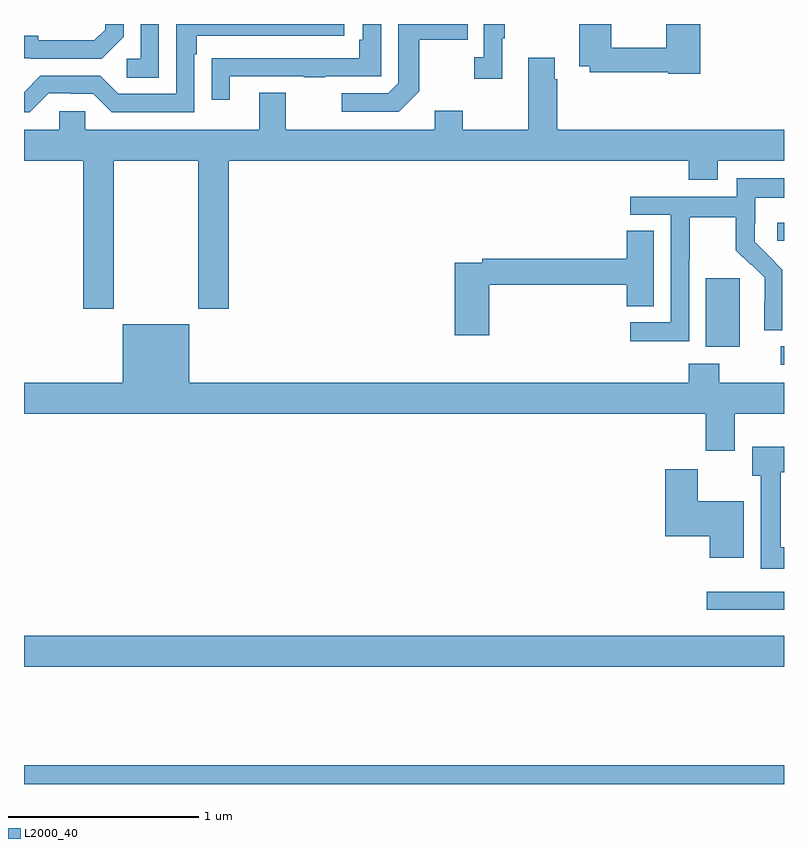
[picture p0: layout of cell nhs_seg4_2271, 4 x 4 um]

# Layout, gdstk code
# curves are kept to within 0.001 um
import gdstk
lib = gdstk.Library(unit=1e-6, precision=1e-09)
def R(c, l, rs):  # rectangles x0, y0, x1, y1
    for r in rs: c.add(gdstk.rectangle(r[:2], r[2:], *l))
def P(c, l, *ps):  # polygons
    for p in ps: c.add(gdstk.Polygon(p, *l))
L2000_40 = (2000, 40)

nhs_seg4_2271 = lib.new_cell('nhs_seg4_2271')
R(nhs_seg4_2271, L2000_40, [(229,766.9,233,767), (229,767.516,233,767.68), (232.593,767.816,233,767.913), (232.983,769.107,233,769.203), (232.589,769.202,232.768,769.563), (232.965,769.758,233,769.855), (229.151,770.899,229.296,770.9)])
P(nhs_seg4_2271, L2000_40, [(229.71,770.9),(229.614,770.9),(229.614,770.718),(229.542,770.718),(229.542,770.617),(229.71,770.617)],
  [(232.559,770.9),(232.381,770.9),(232.381,770.774),(232.092,770.774),(232.092,770.9),(231.922,770.9),(231.922,770.678),(231.978,770.678),(231.978,770.646),(232.392,770.646),(232.392,770.638),(232.559,770.638)],
  [(231.517,770.825),(231.529,770.825),(231.529,770.9),(231.42,770.9),(231.42,770.726),(231.369,770.726),(231.369,770.613),(231.517,770.613)],
  [(229.131,770.535),(229.247,770.535),(229.247,770.532),(229.365,770.532),(229.461,770.436),(229.896,770.436),(229.896,770.741),(229.909,770.741),(229.909,770.838),(230.686,770.838),(230.686,770.9),(229.8,770.9),(229.8,770.532),(229.497,770.532),(229.401,770.628),(229.086,770.628),(229,770.542),(229,770.435),(229.031,770.435)],
  [(231.079,770.545),(231.079,770.818),(231.335,770.818),(231.335,770.9),(230.97,770.9),(230.97,770.589),(230.916,770.535),(230.673,770.535),(230.673,770.439),(230.973,770.439)],
  [(229.524,770.834),(229.524,770.9),(229.427,770.9),(229.427,770.871),(229.37,770.814),(229.075,770.814),(229.075,770.837),(229,770.837),(229,770.721),(229.036,770.721),(229.036,770.718),(229.408,770.718)],
  [(230.083,770.625),(230.473,770.625),(230.473,770.62),(230.585,770.62),(230.585,770.625),(230.88,770.625),(230.88,770.9),(230.784,770.9),(230.784,770.818),(230.764,770.818),(230.764,770.721),(230.089,770.721),(230.089,770.72),(229.987,770.72),(229.987,770.502),(230.083,770.502)],
  [(229.473,770.18),(229.918,770.18),(229.918,769.401),(230.078,769.401),(230.078,770.18),(232.499,770.18),(232.499,770.081),(232.651,770.081),(232.651,770.18),(233,770.18),(233,770.344),(231.806,770.344),(231.806,770.609),(231.793,770.609),(231.793,770.722),(231.653,770.722),(231.653,770.344),(231.309,770.344),(231.309,770.443),(231.161,770.443),(231.161,770.344),(230.377,770.344),(230.377,770.539),(230.237,770.539),(230.237,770.344),(229.323,770.344),(229.323,770.442),(229.185,770.442),(229.185,770.344),(229,770.344),(229,770.18),(229.313,770.18),(229.313,769.401),(229.473,769.401)],
  [(232.5,769.66),(232.503,769.66),(232.503,769.884),(232.747,769.884),(232.747,769.709),(232.824,769.632),(232.827,769.635),(232.898,769.565),(232.898,769.442),(232.896,769.442),(232.896,769.288),(232.992,769.288),(232.992,769.606),(232.846,769.754),(232.846,769.851),(232.848,769.851),(232.848,769.985),(233,769.985),(233,770.089),(232.752,770.089),(232.752,769.992),(232.191,769.992),(232.191,769.896),(232.404,769.896),(232.404,769.329),(232.191,769.329),(232.191,769.231),(232.5,769.231)],
  [(231.449,769.528),(232.172,769.528),(232.172,769.414),(232.315,769.414),(232.315,769.811),(232.172,769.811),(232.172,769.664),(231.412,769.664),(231.412,769.644),(231.266,769.644),(231.266,769.263),(231.449,769.263)],
  [(232.741,768.848),(233,768.848),(233,769.012),(232.659,769.012),(232.659,769.111),(232.499,769.111),(232.499,769.012),(229.87,769.012),(229.87,769.321),(229.52,769.321),(229.52,769.012),(229,769.012),(229,768.848),(232.589,768.848),(232.589,768.654),(232.741,768.654)],
  [(233,768.146),(232.984,768.146),(232.984,768.542),(233,768.542),(233,768.676),(232.832,768.676),(232.832,768.522),(232.877,768.522),(232.877,768.033),(233,768.033)],
  [(232.789,768.388),(232.546,768.388),(232.546,768.556),(232.376,768.556),(232.376,768.203),(232.61,768.203),(232.61,768.092),(232.789,768.092)])

lib.write_gds('nhs_seg4_2271.gds')
